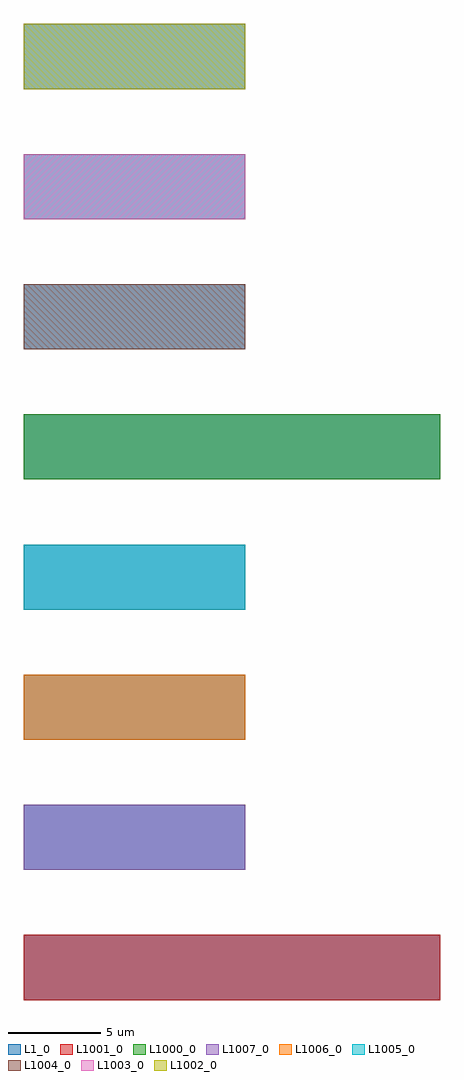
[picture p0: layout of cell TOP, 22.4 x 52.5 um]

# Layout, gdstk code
from math import pi, radians
import gdstk
lib = gdstk.Library(unit=1e-6, precision=1e-09)
def R(c, l, rs):  # rectangles x0, y0, x1, y1
    for r in rs: c.add(gdstk.rectangle(r[:2], r[2:], *l))
L1_0 = (1, 0)
L1000_0 = (1000, 0)
L1001_0 = (1001, 0)
L1002_0 = (1002, 0)
L1003_0 = (1003, 0)
L1004_0 = (1004, 0)
L1005_0 = (1005, 0)
L1006_0 = (1006, 0)
L1007_0 = (1007, 0)

c_c3 = lib.new_cell('C3')
R(c_c3, L1_0, [(0,0,10.5,3.5)])

c_c2 = lib.new_cell('C2')
R(c_c2, L1_0, [(0,243.25,3.5,255.15)])

c_c1 = lib.new_cell('C1')
R(c_c1, L1002_0, [(968.1,386.75,980,390.25)])
R(c_c1, L1003_0, [(968.1,379.75,980,383.25)])
R(c_c1, L1004_0, [(968.1,372.75,980,376.25)])
R(c_c1, L1005_0, [(968.1,358.75,980,362.25)])
R(c_c1, L1006_0, [(968.1,351.75,980,355.25)])
R(c_c1, L1007_0, [(968.1,344.75,980,348.25)])
r = gdstk.Reference(c_c2, (1223.25,390.25), rotation=3*pi/2, x_reflection=True); r.repetition = gdstk.Repetition(8, 1, v1=(0,-7), v2=(0,0)); c_c1.add(r)

top = lib.new_cell('TOP')
R(top, L1000_0, [(0,28,11.9,31.5), (11.9,28,22.4,31.5)])
R(top, L1001_0, [(0,0,11.9,3.5), (11.9,0,22.4,3.5)])
r = gdstk.Reference(c_c3, (22.4,0), rotation=pi, x_reflection=True); r.repetition = gdstk.Repetition(1, 2, v1=(0,0), v2=(0,28)); top.add(r)
top.add(gdstk.Reference(c_c1, (-968.1,-337.75)))

lib.write_gds('TOP.gds')
